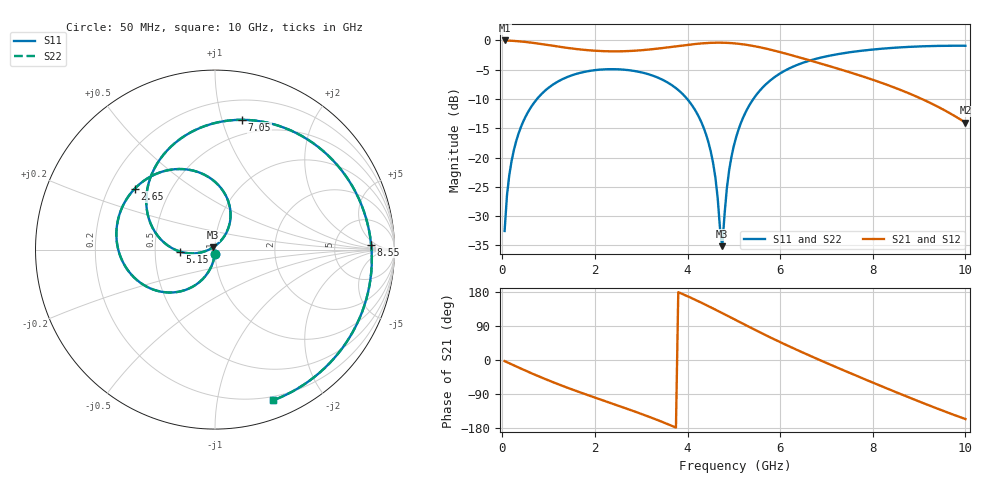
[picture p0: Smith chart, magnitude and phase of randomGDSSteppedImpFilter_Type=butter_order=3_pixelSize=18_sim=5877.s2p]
! freq	dB(S11)	phase(S11)	dB(S12)	phase(S12)
!  dB(S21)	phase(S21)	dB(S22)	phase(S22)
!S-par simulation data
#  GHz  S  DB  R 50
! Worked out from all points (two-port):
!   200 points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, 50 MHz to 10 GHz, reference 50 ohm
!   highest |S21| = -0.01 dB at 50 MHz (marker M1); lowest = -14.0 dB at 10 GHz (marker M2)
!   |S21| within 3 dB of the highest: start of sweep to 6.462 GHz
!   lowest |S11| = -35.1 dB at 4.75 GHz (marker M3), VSWR 1.04, Z = 48.7 + j1.16 ohm
!   |S11| at or under -10 dB: start of sweep to 750.3 MHz; 3.992 GHz to 5.422 GHz (1.43 GHz wide, 30.4 % of centre)
!   |S22| runs from -35.0 to -0.9 dB; largest |S21 - S12| = 0
!   S11 on the Smith chart (normalised r, x): 50 MHz: 1.00, -0.05; 2.65 GHz: 0.31, +0.31; 5.15 GHz: 0.67, -0.02; 7.05 GHz: 0.36, +1.16; 8.55 GHz: 14, +3; 10 GHz: 0.16, -1.45
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0.05  -32.55 -92.9  -0.01 -2.9  -0.01 -2.9  -32.55 -92.9
0.1  -26.56 -95.9  -0.02 -5.7  -0.02 -5.7  -26.56 -95.9
0.2  -20.62 -101.8  -0.06 -11.4  -0.06 -11.4  -20.62 -101.8
0.5  -13.06 -118.5  -0.26 -28.0  -0.26 -28.0  -13.06 -118.5
1.1  -7.51 -149.2  -0.92 -58.8  -0.92 -58.8  -7.51 -149.2
1.75  -5.41 -178.9  -1.60 -88.4  -1.60 -88.4  -5.41 -178.9
2.65  -5.01 142.9  -1.84 -126.8  -1.84 -126.8  -5.01 142.9
3.4  -6.49 109.4  -1.36 -160.7  -1.36 -160.7  -6.49 109.5
4.35  -14.95 61.9  -0.48 148.2  -0.48 148.2  -14.95 62.1
4.6  -23.34 55.4  -0.39 133.1  -0.39 133.1  -23.33 55.8
4.75  -35.15 137.3  -0.39 123.8  -0.39 123.8  -34.96 137.1
4.85  -25.17 -170.4  -0.41 117.5  -0.41 117.5  -25.15 -170.7
5.05  -16.51 -172.1  -0.53 104.9  -0.53 104.9  -16.51 -172.2
5.15  -14.15 -176.9  -0.62 98.6  -0.62 98.6  -14.15 -176.9
5.95  -5.89 137.8  -1.90 50.1  -1.90 50.1  -5.88 137.9
6.7  -3.30 96.8  -3.55 8.2  -3.55 8.2  -3.30 96.8
7.05  -2.63 78.3  -4.36 -10.4  -4.36 -10.4  -2.64 78.4
7.65  -1.87 47.4  -5.81 -41.7  -5.81 -41.7  -1.87 47.5
8.35  -1.32 11.8  -7.70 -77.3  -7.70 -77.3  -1.32 12.0
8.55  -1.21 1.8  -8.30 -87.3  -8.30 -87.3  -1.21 1.9
9.2  -0.97 -30.3  -10.52 -119.1  -10.52 -119.1  -0.97 -30.2
10  -0.91 -68.9  -14.04 -155.8  -14.04 -155.8  -0.91 -68.8
